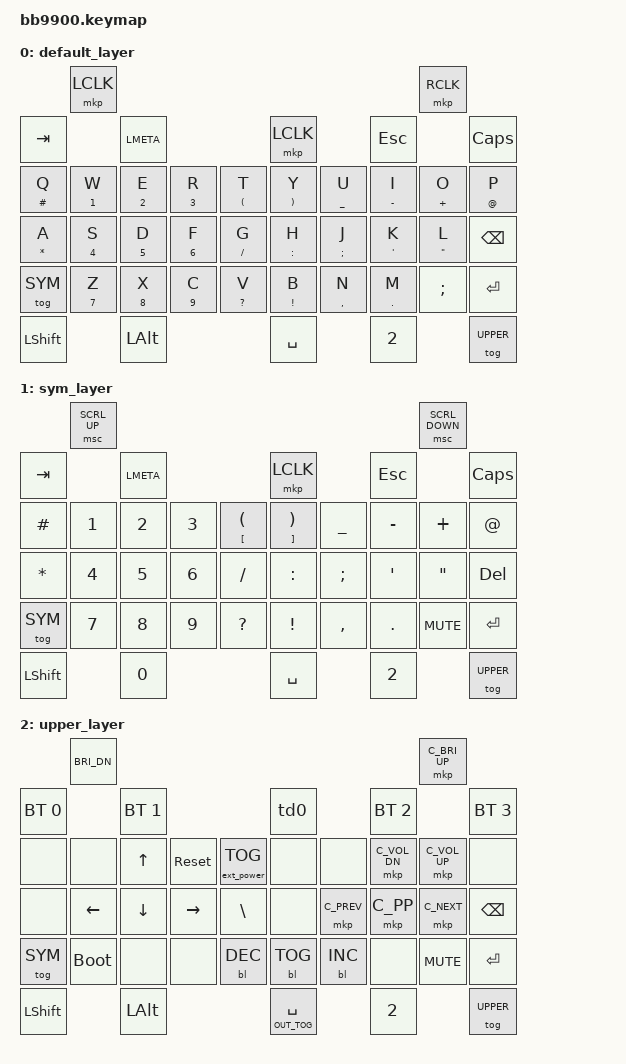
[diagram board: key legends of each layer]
/*
 * Copyright (c) 2023 ZitaoTech
 *
 * SPDX-License-Identifier: MIT
 */

#include <behaviors.dtsi>
#include <dt-bindings/zmk/keys.h>
#include <dt-bindings/zmk/bt.h>
#include <dt-bindings/zmk/outputs.h>
#include <dt-bindings/zmk/mouse.h>
#include <dt-bindings/zmk/backlight.h>
#include <dt-bindings/zmk/ext_power.h>


#define SYM 1
#define UPPER 2


/ {
    behaviors {
        td0: tap_dance_0 {
            compatible = "zmk,behavior-tap-dance";
            #binding-cells = <0>;
            tapping-term-ms = <400>;
            bindings = <&mkp LCLK>, <&bt BT_CLR>;
        };
    };
    behaviors {
        hm: homerow_mods {
            compatible = "zmk,behavior-hold-tap";
            #binding-cells = <2>;
            tapping-term-ms = <500>;
            bindings = <&out &kp>;
        };
    };

    behaviors {
        bhm: balanced_homerow_mods {
            compatible = "zmk,behavior-hold-tap";
            #binding-cells = <2>;
            flavor = "balanced";
            tapping-term-ms = <400>;
            bindings = <&kp>, <&kp>;
        };
    };

    keymap {
        compatible = "zmk,keymap";

        default_layer {

            bindings = <
//         --------------------------------------------------------------------------------------------------------------------------         
//         |    Shoulder Key1    |                                                                             |    Shoulder Key2    |     
// |         Call key      |      Blackberry Key        |    Trackpad    |             Back Key                |             Endcall Key          |
// |     Q      |     W    |     E    |     R    |      T      |       Y        |       U        |        I        |       O      |      P        |     
// |     A      |     S    |     D    |     F    |      G      |       H        |       J        |        K        |       L      |      ←        |  
// |     alt    |     Z    |     X    |     C    |      V      |       B        |       N        |        M        |       $      |    Enter      |   
//        |         aA     |         0           |           SPACE              |         SYM         |        aA          |       
//        -----------------------------------------------------------------------------------------------------------------

                 &mkp LCLK                                                                                             &mkp RCLK
    &kp TAB                  &kp LMETA                           &mkp LCLK                          &kp ESC                           &kp CLCK
    &bhm HASH Q  &bhm N1 W   &bhm N2 E  &bhm N3 R  &bhm LPAR T   &bhm RPAR Y        &bhm UNDER U    &bhm MINUS I        &bhm PLUS O   &bhm AT P
    &bhm STAR A  &bhm N4 S   &bhm N5 D  &bhm N6 F  &bhm SLASH G  &bhm COLON H       &bhm SEMI J     &bhm APOS K         &bhm DQT L    &kp BSPC
    &tog SYM     &bhm N7 Z   &bhm N8 X  &bhm N9 C  &bhm QMARK V  &bhm EXCL B        &bhm COMMA N    &bhm DOT M          &kp SEMI      &kp ENTER
    &kp LSHFT                &kp LALT                            &kp SPACE                          &kp N2                            &tog UPPER
            >;
        };


        sym_layer {

            bindings = <
                 &msc SCRL_UP                                                                                       &msc SCRL_DOWN
    &kp TAB                  &kp LMETA                           &mkp LCLK                          &kp ESC                           &kp CLCK
    &kp HASH     &kp N1      &kp N2      &kp N3    &mt LBKT LPAR &mt RBKT RPAR     &kp UNDER        &kp MINUS        &kp PLUS         &kp AT
    &kp STAR     &kp N4      &kp N5      &kp N6    &kp SLASH     &kp COLON         &kp SEMI         &kp APOS         &kp DQT          &kp DEL
    &tog SYM     &kp N7      &kp N8      &kp N9    &kp QMARK     &kp EXCL          &kp COMMA        &kp DOT          &kp C_MUTE       &kp ENTER
    &kp LSHFT                &kp N0                              &kp SPACE                          &kp N2                            &tog UPPER
            >;
        };

        upper_layer {

            bindings = <
                 &kp C_BRI_DN                                                                                       &mkp C_BRI_UP
    &bt BT_SEL 0             &bt BT_SEL 1                             &td0                           &bt BT_SEL 2                     &bt BT_SEL 3
    &none        &none       &kp UP      &sys_reset &ext_power EP_TOG &none         &none            &mkp C_VOL_DN   &mkp C_VOL_UP    &none
    &none        &kp LEFT    &kp DOWN    &kp RIGHT  &kp BSLH          &none         &mkp C_PREV      &mkp C_PP       &mkp C_NEXT      &kp BSPC
    &tog SYM     &bootloader &none       &none      &bl BL_DEC        &bl BL_TOG    &bl BL_INC       &none           &kp C_MUTE       &kp ENTER
    &kp LSHFT                &kp LALT                                 &hm OUT_TOG SPACE              &kp N2                           &tog UPPER
            >;
        };
    };
};

